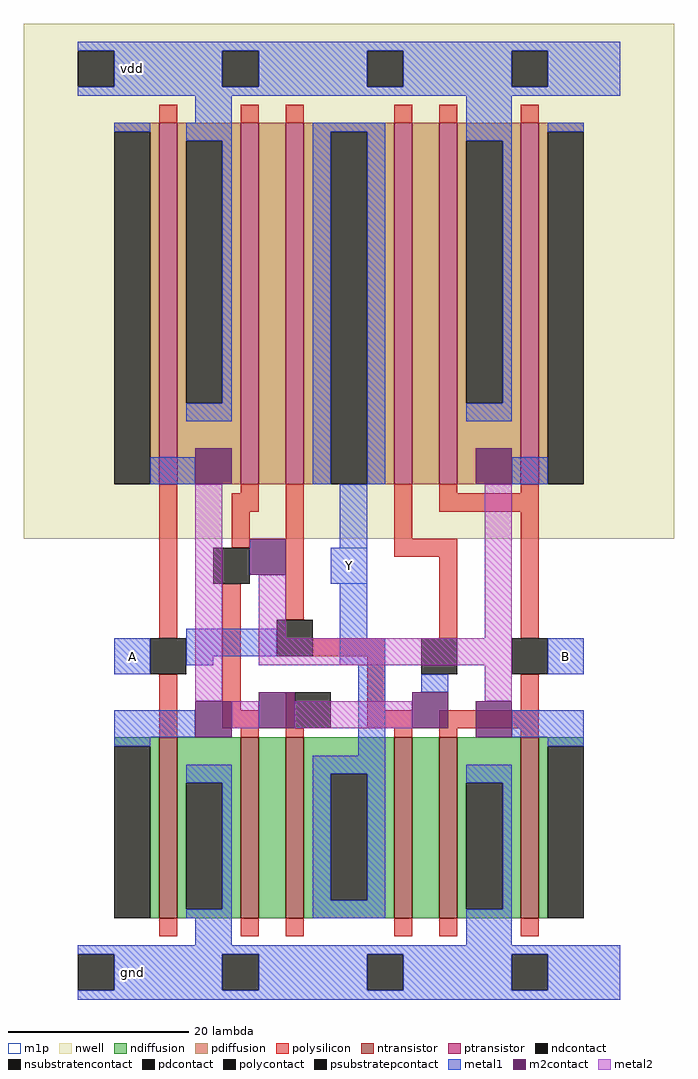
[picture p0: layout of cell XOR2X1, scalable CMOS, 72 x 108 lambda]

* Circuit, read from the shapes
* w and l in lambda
.subckt XOR2X1 A B Y gnd vdd
M1 gnd A n1 gnd nfet w=20 l=2
M2 n2 n3 gnd gnd nfet w=20 l=2
M3 Y n1 n2 gnd nfet w=20 l=2
M4 n4 A Y gnd nfet w=20 l=2
M5 gnd B n4 gnd nfet w=20 l=2
M6 n3 B gnd gnd nfet w=20 l=2
M7 vdd A n1 vdd pfet w=40 l=2
M8 n5 n3 vdd vdd pfet w=40 l=2
M9 Y A n5 vdd pfet w=40 l=2
M10 n6 n1 Y vdd pfet w=40 l=2
M11 vdd B n6 vdd pfet w=40 l=2
M12 n3 B vdd vdd pfet w=40 l=2
.ends

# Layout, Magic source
magic
tech scmos
<< nwell >>
rect -8 48 64 105
<< ntransistor >>
rect 7 6 9 26
rect 16 6 18 26
rect 21 6 23 26
rect 33 6 35 26
rect 38 6 40 26
rect 47 6 49 26
<< ptransistor >>
rect 7 54 9 94
rect 16 54 18 94
rect 21 54 23 94
rect 33 54 35 94
rect 38 54 40 94
rect 47 54 49 94
<< ndiffusion >>
rect 2 25 7 26
rect 6 6 7 25
rect 9 21 16 26
rect 9 7 10 21
rect 14 7 16 21
rect 9 6 16 7
rect 18 6 21 26
rect 23 22 33 26
rect 23 8 26 22
rect 30 8 33 22
rect 23 6 33 8
rect 35 6 38 26
rect 40 21 47 26
rect 40 7 41 21
rect 45 7 47 21
rect 40 6 47 7
rect 49 25 54 26
rect 49 6 50 25
<< pdiffusion >>
rect 2 93 7 94
rect 6 54 7 93
rect 9 92 16 94
rect 9 63 10 92
rect 14 63 16 92
rect 9 54 16 63
rect 18 54 21 94
rect 23 93 33 94
rect 23 54 26 93
rect 30 54 33 93
rect 35 54 38 94
rect 40 92 47 94
rect 40 63 41 92
rect 45 63 47 92
rect 40 54 47 63
rect 49 93 54 94
rect 49 54 50 93
<< ndcontact >>
rect 2 6 6 25
rect 10 7 14 21
rect 26 8 30 22
rect 41 7 45 21
rect 50 6 54 25
<< pdcontact >>
rect 2 54 6 93
rect 10 63 14 92
rect 26 54 30 93
rect 41 63 45 92
rect 50 54 54 93
<< psubstratepcontact >>
rect -2 -2 2 2
rect 14 -2 18 2
rect 30 -2 34 2
rect 46 -2 50 2
<< nsubstratencontact >>
rect -2 98 2 102
rect 14 98 18 102
rect 30 98 34 102
rect 46 98 50 102
<< polysilicon >>
rect 7 94 9 96
rect 16 94 18 96
rect 21 94 23 96
rect 33 94 35 96
rect 38 94 40 96
rect 47 94 49 96
rect 7 37 9 54
rect 16 53 18 54
rect 15 51 18 53
rect 15 47 17 51
rect 7 26 9 33
rect 14 29 16 43
rect 21 39 23 54
rect 33 48 35 54
rect 38 53 40 54
rect 47 53 49 54
rect 38 51 49 53
rect 33 46 40 48
rect 38 37 40 46
rect 47 37 49 51
rect 24 35 32 37
rect 14 27 18 29
rect 16 26 18 27
rect 21 27 22 31
rect 30 29 32 35
rect 47 29 49 33
rect 30 27 35 29
rect 21 26 23 27
rect 33 26 35 27
rect 38 27 49 29
rect 38 26 40 27
rect 47 26 49 27
rect 7 4 9 6
rect 16 4 18 6
rect 21 4 23 6
rect 33 4 35 6
rect 38 4 40 6
rect 47 4 49 6
<< polycontact >>
rect 13 43 17 47
rect 6 33 10 37
rect 20 35 24 39
rect 22 27 26 31
rect 36 33 40 37
rect 46 33 50 37
<< metal1 >>
rect -2 102 58 103
rect 2 98 14 102
rect 18 98 30 102
rect 34 98 46 102
rect 50 98 58 102
rect -2 97 58 98
rect 11 94 15 97
rect 2 93 6 94
rect 10 92 15 94
rect 14 63 15 92
rect 10 61 15 63
rect 24 93 32 94
rect 6 54 11 57
rect 24 54 26 93
rect 30 54 32 93
rect 41 92 46 97
rect 45 63 46 92
rect 41 61 46 63
rect 50 93 54 94
rect 46 54 50 57
rect 27 47 30 54
rect 26 43 30 47
rect 2 33 6 37
rect 10 35 20 38
rect 27 37 30 43
rect 10 34 13 35
rect 27 34 32 37
rect 2 26 11 29
rect 2 25 6 26
rect 29 24 32 34
rect 50 33 54 37
rect 36 31 39 33
rect 46 26 54 29
rect 10 21 15 23
rect 14 7 15 21
rect 10 6 15 7
rect 24 22 32 24
rect 50 25 54 26
rect 24 8 26 22
rect 30 8 32 22
rect 24 6 32 8
rect 41 21 46 23
rect 45 7 46 21
rect 11 3 15 6
rect 41 3 46 7
rect -2 2 58 3
rect 2 -2 14 2
rect 18 -2 30 2
rect 34 -2 46 2
rect 50 -2 58 2
rect -2 -3 58 -2
<< m2contact >>
rect 11 54 15 58
rect 42 54 46 58
rect 17 44 21 48
rect 11 26 15 30
rect 18 27 22 31
rect 35 27 39 31
rect 42 26 46 30
<< metal2 >>
rect 11 30 14 54
rect 18 37 21 44
rect 43 37 46 54
rect 18 34 46 37
rect 15 27 18 30
rect 22 27 35 30
rect 43 30 46 34
<< m1p >>
rect 26 43 30 47
rect 2 33 6 37
rect 50 33 54 37
<< labels >>
rlabel metal1 28 45 28 45 4 Y
rlabel metal1 4 100 4 100 4 vdd
rlabel metal1 52 35 52 35 4 B
rlabel metal1 4 35 4 35 4 A
rlabel metal1 4 0 4 0 4 gnd
<< end >>
